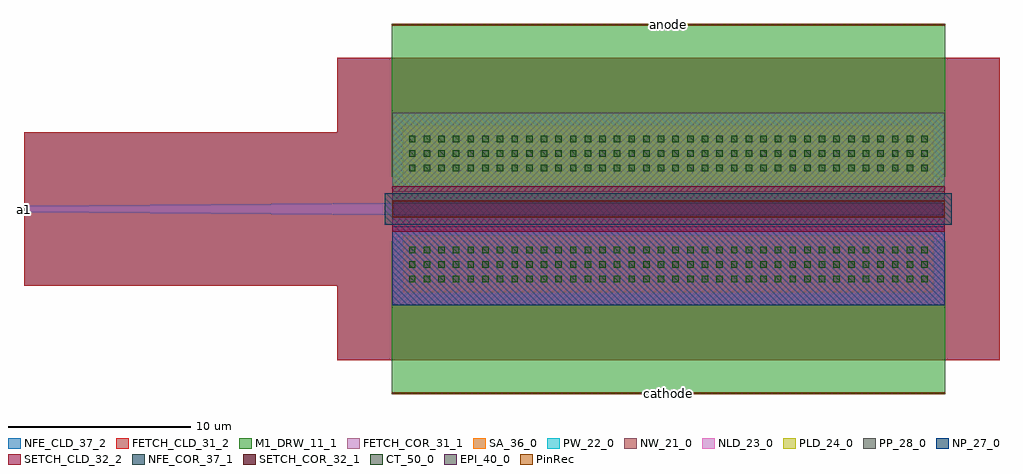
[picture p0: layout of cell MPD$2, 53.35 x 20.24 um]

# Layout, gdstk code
from math import pi, radians
import gdstk
lib = gdstk.Library(unit=1e-6, precision=1e-09)
def R(c, l, rs):  # rectangles x0, y0, x1, y1
    for r in rs: c.add(gdstk.rectangle(r[:2], r[2:], *l))
def P(c, l, *ps):  # polygons
    for p in ps: c.add(gdstk.Polygon(p, *l))
M1_DRW_11_1 = (11, 1)
NW_21_0 = (21, 0)
PW_22_0 = (22, 0)
NLD_23_0 = (23, 0)
PLD_24_0 = (24, 0)
NP_27_0 = (27, 0)
PP_28_0 = (28, 0)
FETCH_COR_31_1 = (31, 1)
FETCH_CLD_31_2 = (31, 2)
SETCH_COR_32_1 = (32, 1)
SETCH_CLD_32_2 = (32, 2)
SA_36_0 = (36, 0)
NFE_COR_37_1 = (37, 1)
NFE_CLD_37_2 = (37, 2)
EPI_40_0 = (40, 0)
CT_50_0 = (50, 0)
PinRec = (95, 0)

mpd_1_1_2 = lib.new_cell('MPD_1_1$2')
R(mpd_1_1_2, CT_50_0, [(-0.175,-0.175,0.175,0.175)])

mpd_1_2 = lib.new_cell('MPD_1$2')
R(mpd_1_2, M1_DRW_11_1, [(-4.86,-15.125,-1.76,15.125), (1.76,-15.125,4.86,15.125)])
R(mpd_1_2, NW_21_0, [(0.3,-15.1,5.27,15.1)])
R(mpd_1_2, PW_22_0, [(-5.27,-15.1,-0.3,15.1)])
R(mpd_1_2, NLD_23_0, [(0.3,-15.1,5.27,15.1)])
R(mpd_1_2, PLD_24_0, [(-5.27,-15.1,-0.3,15.1)])
R(mpd_1_2, NP_27_0, [(0.95,-15.1,5.27,15.1)])
R(mpd_1_2, PP_28_0, [(-5.27,-15.1,-0.95,15.1)])
R(mpd_1_2, FETCH_COR_31_1, [(-5.27,-15.1,5.27,15.1)])
P(mpd_1_2, FETCH_COR_31_1, [(-0.19,-35),(-0.35,-15),(0.35,-15),(0.19,-35)])
R(mpd_1_2, FETCH_CLD_31_2, [(-4.19,-35,4.19,-18.1), (-8.27,-18.1,8.27,18.1)])
R(mpd_1_2, SETCH_COR_32_1, [(-0.45,-15.1,0.45,15.1)])
R(mpd_1_2, SETCH_CLD_32_2, [(-1.25,-15.1,1.25,15.1)])
R(mpd_1_2, SA_36_0, [(-4.55,-14.49,-1.45,14.49), (1.45,-14.49,4.55,14.49)])
R(mpd_1_2, NFE_COR_37_1, [(-0.85,-15.5,0.85,15.5)])
R(mpd_1_2, NFE_CLD_37_2, [(-4.19,-35,4.19,-18.1), (-8.27,-18.1,8.27,18.1)])
R(mpd_1_2, EPI_40_0, [(-0.35,-15,0.35,15)])
r = gdstk.Reference(mpd_1_1_2, (2.235,-14)); r.repetition = gdstk.Repetition(3, 36, v1=(0.8,0), v2=(0,0.8)); mpd_1_2.add(r)
r = gdstk.Reference(mpd_1_1_2, (-3.835,-14)); r.repetition = gdstk.Repetition(3, 36, v1=(0.8,0), v2=(0,0.8)); mpd_1_2.add(r)

mpd_2 = lib.new_cell('MPD$2')
R(mpd_2, M1_DRW_11_1, [(20.075,-10.07,50.325,-9.07), (20.075,-9.27,50.325,-3.91), (20.075,3.91,50.325,9.27), (20.075,9.07,50.325,10.07)])
R(mpd_2, FETCH_COR_31_1, [(0,-0.19,0.2,0.19)])
R(mpd_2, FETCH_CLD_31_2, [(0,-4.19,0.2,4.19)])
R(mpd_2, NFE_CLD_37_2, [(0,-4.19,0.2,4.19)])
mpd_2.add(gdstk.FlexPath([(0.05,0),(-0.05,0)], 0.38, ends="flush", simple_path=True, layer=95, datatype=0))  # PinRec
mpd_2.add(gdstk.FlexPath([(35.2,10.12),(35.2,10.02)], 30.25, ends="flush", simple_path=True, layer=95, datatype=0))  # PinRec
mpd_2.add(gdstk.FlexPath([(35.2,-10.02),(35.2,-10.12)], 30.25, ends="flush", simple_path=True, layer=95, datatype=0))  # PinRec
mpd_2.add(gdstk.Reference(mpd_1_2, (35.2,0), rotation=3*pi/2))
mpd_2.add(gdstk.Label('a1', (0,0), layer=95, texttype=0))
mpd_2.add(gdstk.Label('cathode', (35.2,-10.07), layer=1, texttype=0))
mpd_2.add(gdstk.Label('anode', (35.2,10.07), layer=1, texttype=0))

lib.write_gds('MPD_2.gds')
